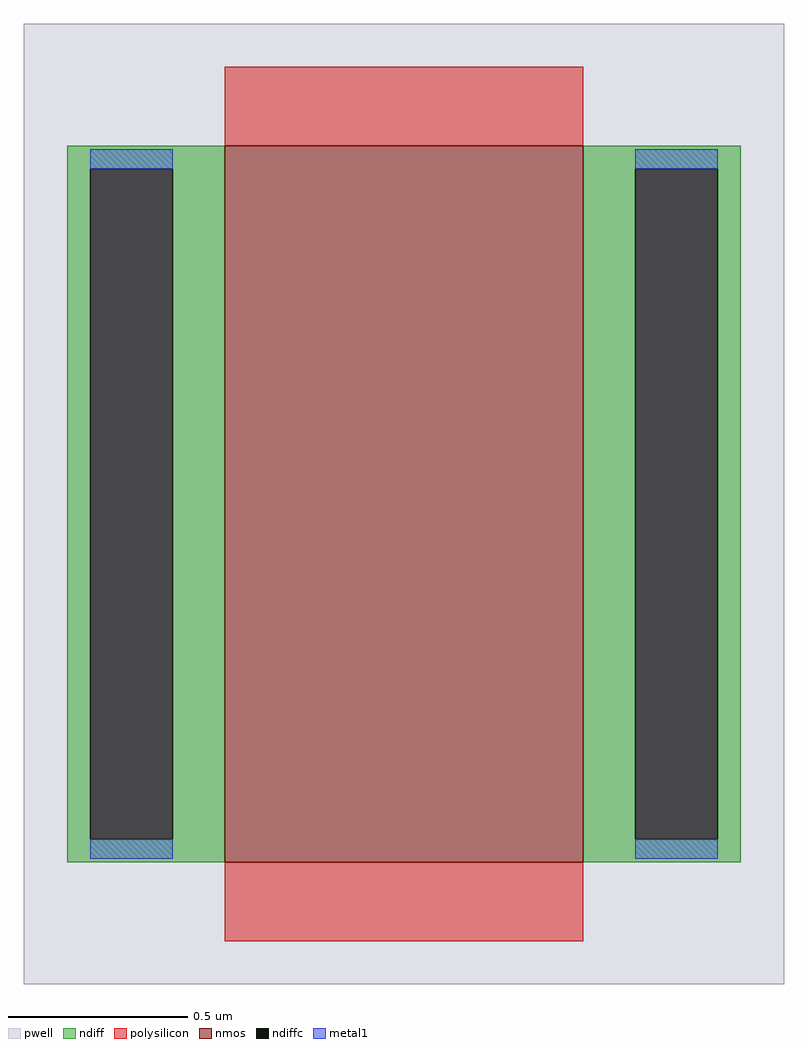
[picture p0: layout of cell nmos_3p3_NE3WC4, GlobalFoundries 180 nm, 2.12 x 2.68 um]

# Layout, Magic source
magic
tech gf180mcuC
magscale 1 10
<< pwell >>
rect -212 -268 212 268
<< nmos >>
rect -100 -200 100 200
<< ndiff >>
rect -188 187 -100 200
rect -188 -187 -175 187
rect -129 -187 -100 187
rect -188 -200 -100 -187
rect 100 187 188 200
rect 100 -187 129 187
rect 175 -187 188 187
rect 100 -200 188 -187
<< ndiffc >>
rect -175 -187 -129 187
rect 129 -187 175 187
<< polysilicon >>
rect -100 200 100 244
rect -100 -244 100 -200
<< metal1 >>
rect -175 187 -129 198
rect -175 -198 -129 -187
rect 129 187 175 198
rect 129 -198 175 -187
<< properties >>
string gencell nmos_3p3
string library gf180mcu
string parameters w 2 l 1 m 1 nf 1 diffcov 100 polycov 100 guard 0 glc 0 grc 0 gtc 0 gbc 0 tbcov 100 rlcov 100 topc 0 botc 0 poverlap 0 doverlap 1 lmin 0.28 wmin 0.22 full_metal 0 compatible {nmos_3p3 nmos_6p0 nmos_6p0_nat}
<< end >>
